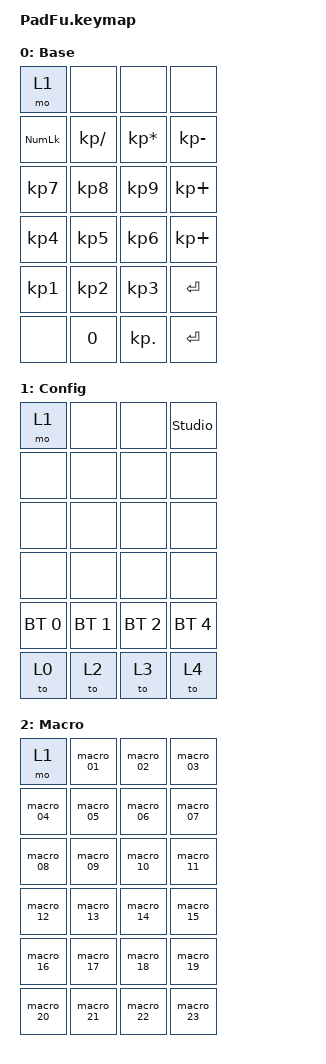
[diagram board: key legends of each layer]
#include <behaviors.dtsi>
#include <dt-bindings/zmk/keys.h>
#include <dt-bindings/zmk/bt.h>

/ {
    macros {
        macro_01: macro_01 {
            compatible = "zmk,behavior-macro";
            #binding-cells = <0>;
            bindings = <&macro_press &kp LCTRL &kp LALT &kp LSHFT>,
                    <&macro_tap &kp F13>,
                    <&macro_release &kp LCTRL &kp LALT &kp LSHFT>;
        };
        macro_02: macro_02 {
            compatible = "zmk,behavior-macro";
            #binding-cells = <0>;
            bindings = <&macro_press &kp LCTRL &kp LALT &kp LGUI>,
                    <&macro_tap &kp F14>,
                    <&macro_release &kp LCTRL &kp LALT &kp LGUI>;
        };

        macro_03: macro_03 {
            compatible = "zmk,behavior-macro";
            #binding-cells = <0>;
            bindings = <&macro_press &kp LALT &kp LGUI &kp LSHFT>,
                    <&macro_tap &kp F15>,
                    <&macro_release &kp LALT &kp LGUI &kp LSHFT>;
        };

        macro_04: macro_04 {
            compatible = "zmk,behavior-macro";
            #binding-cells = <0>;
            bindings = <&macro_press &kp LCTRL &kp LGUI &kp LSHFT>,
                    <&macro_tap &kp F16>,
                    <&macro_release &kp LCTRL &kp LGUI &kp LSHFT>;
        };

        macro_05: macro_05 {
            compatible = "zmk,behavior-macro";
            #binding-cells = <0>;
            bindings = <&macro_press &kp LCTRL &kp LALT &kp LSHFT>,
                    <&macro_tap &kp F17>,
                    <&macro_release &kp LCTRL &kp LALT &kp LSHFT>;
        };

        macro_06: macro_06 {
            compatible = "zmk,behavior-macro";
            #binding-cells = <0>;
            bindings = <&macro_press &kp LGUI &kp LALT &kp LSHFT>,
                    <&macro_tap &kp F18>,
                    <&macro_release &kp LGUI &kp LALT &kp LSHFT>;
        };

        macro_07: macro_07 {
            compatible = "zmk,behavior-macro";
            #binding-cells = <0>;
            bindings = <&macro_press &kp LCTRL &kp LALT &kp LGUI>,
                    <&macro_tap &kp F19>,
                    <&macro_release &kp LCTRL &kp LALT &kp LGUI>;
        };

        macro_08: macro_08 {
            compatible = "zmk,behavior-macro";
            #binding-cells = <0>;
            bindings = <&macro_press &kp LGUI &kp LCTRL &kp LSHFT>,
                    <&macro_tap &kp F20>,
                    <&macro_release &kp LGUI &kp LCTRL &kp LSHFT>;
        };

        macro_09: macro_09 {
            compatible = "zmk,behavior-macro";
            #binding-cells = <0>;
            bindings = <&macro_press &kp LCTRL &kp LALT &kp LGUI>,
                    <&macro_tap &kp F21>,
                    <&macro_release &kp LCTRL &kp LALT &kp LGUI>;
        };

        macro_10: macro_10 {
            compatible = "zmk,behavior-macro";
            #binding-cells = <0>;
            bindings = <&macro_press &kp LALT &kp LCTRL &kp LSHFT>,
                    <&macro_tap &kp F22>,
                    <&macro_release &kp LALT &kp LCTRL &kp LSHFT>;
        };

        macro_11: macro_11 {
            compatible = "zmk,behavior-macro";
            #binding-cells = <0>;
            bindings = <&macro_press &kp LGUI &kp LALT &kp LCTRL>,
                    <&macro_tap &kp F23>,
                    <&macro_release &kp LGUI &kp LALT &kp LCTRL>;
        };

        macro_12: macro_12 {
            compatible = "zmk,behavior-macro";
            #binding-cells = <0>;
            bindings = <&macro_press &kp LSHFT &kp LCTRL &kp LGUI>,
                    <&macro_tap &kp F24>,
                    <&macro_release &kp LSHFT &kp LCTRL &kp LGUI>;
        };

        macro_13: macro_13 {
            compatible = "zmk,behavior-macro";
            #binding-cells = <0>;
            bindings = <&macro_press &kp LALT &kp LGUI &kp LSHFT>,
                    <&macro_tap &kp MINUS>,
                    <&macro_release &kp LALT &kp LGUI &kp LSHFT>;
        };

        macro_14: macro_14 {
            compatible = "zmk,behavior-macro";
            #binding-cells = <0>;
            bindings = <&macro_press &kp LGUI &kp LALT &kp LCTRL>,
                    <&macro_tap &kp EQUAL>,
                    <&macro_release &kp LGUI &kp LALT &kp LCTRL>;
        };

        macro_15: macro_15 {
            compatible = "zmk,behavior-macro";
            #binding-cells = <0>;
            bindings = <&macro_press &kp LALT &kp LCTRL &kp LSHFT>,
                    <&macro_tap &kp SLASH>,
                    <&macro_release &kp LALT &kp LCTRL &kp LSHFT>;
        };

        macro_16: macro_16 {
            compatible = "zmk,behavior-macro";
            #binding-cells = <0>;
            bindings = <&macro_press &kp LGUI &kp LALT &kp LCTRL>,
                    <&macro_tap &kp SEMICOLON>,
                    <&macro_release &kp LGUI &kp LALT &kp LCTRL>;
        };

        macro_17: macro_17 {
            compatible = "zmk,behavior-macro";
            #binding-cells = <0>;
            bindings = <&macro_press &kp LCTRL &kp LALT &kp LSHFT>,
                    <&macro_tap &kp BACKSLASH>,
                    <&macro_release &kp LCTRL &kp LALT &kp LSHFT>;
        };

        macro_18: macro_18 {
            compatible = "zmk,behavior-macro";
            #binding-cells = <0>;
            bindings = <&macro_press &kp LALT &kp LGUI &kp LSHFT>,
                    <&macro_tap &kp COMMA>,
                    <&macro_release &kp LALT &kp LGUI &kp LSHFT>;
        };
        macro_19: macro_19 {
            compatible = "zmk,behavior-macro";
            #binding-cells = <0>;
            bindings = <&macro_press &kp LCTRL &kp LGUI &kp LSHFT>,
                    <&macro_tap &kp PERIOD>,
                    <&macro_release &kp LCTRL &kp LGUI &kp LSHFT>;
        };

        macro_20: macro_20 {
            compatible = "zmk,behavior-macro";
            #binding-cells = <0>;
            bindings = <&macro_press &kp LCTRL &kp LALT &kp LGUI>,
                    <&macro_tap &kp SINGLE_QUOTE>,
                    <&macro_release &kp LCTRL &kp LALT &kp LGUI>;
        };
        macro_21: macro_21 {
            compatible = "zmk,behavior-macro";
            #binding-cells = <0>;
            bindings = <&macro_press &kp LCTRL &kp LALT &kp LSHFT>,
                    <&macro_tap &kp LEFT_BRACKET>,
                    <&macro_release &kp LCTRL &kp LALT &kp LSHFT>;
        };

        macro_22: macro_22 {
            compatible = "zmk,behavior-macro";
            #binding-cells = <0>;
            bindings = <&macro_press &kp LGUI &kp LALT &kp LCTRL>,
                    <&macro_tap &kp RIGHT_BRACKET>,
                    <&macro_release &kp LGUI &kp LALT &kp LCTRL>;
        };

        macro_23: macro_23 {
            compatible = "zmk,behavior-macro";
            #binding-cells = <0>;
            bindings = <&macro_press &kp LALT &kp LCTRL &kp LSHFT>,
                    <&macro_tap &kp GRAVE>,
                    <&macro_release &kp LALT &kp LCTRL &kp LSHFT>;
        };
    };

    keymap {
        compatible = "zmk,keymap";

        // ==== Layer 0 - Base Numbers + Letters ====
        base_layer {
            display-name = "Base";
            bindings = <
                &mo 1             &none           &none              &none
                &kp KP_NUM        &kp KP_SLASH    &kp KP_MULTIPLY    &kp KP_MINUS
                &kp KP_N7         &kp KP_N8       &kp KP_N9          &kp KP_PLUS
                &kp KP_N4         &kp KP_N5       &kp KP_N6          &kp KP_PLUS
                &kp KP_N1         &kp KP_N2       &kp KP_N3          &kp ENTER
                &none             &kp N0          &kp KP_DOT         &kp ENTER
            >;
        };

        config_layer {
            display-name = "Config";
            bindings = <
                &mo 1          &none        &none           &studio_unlock
                &none          &none        &none           &none
                &none          &none        &none           &none
                &none          &none        &none           &none
                &bt BT_SEL 0   &bt BT_SEL 1 &bt BT_SEL 2    &bt BT_SEL 4
                &to 0          &to 2        &to 3           &to 4
            >;
        };

        macro_layer {
            display-name = "Macro";
            bindings = <
                &mo 1       &macro_01  &macro_02  &macro_03
                &macro_04   &macro_05  &macro_06  &macro_07
                &macro_08   &macro_09  &macro_10  &macro_11
                &macro_12   &macro_13  &macro_14  &macro_15
                &macro_16   &macro_17  &macro_18  &macro_19
                &macro_20   &macro_21  &macro_22  &macro_23
            >;
        };

        extra_layer_3 {
            status = "reserved";
        };

        extra_layer_4 {
            status = "reserved";
        };

        extra_layer_5 {
            status = "reserved";
        };
    };
};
